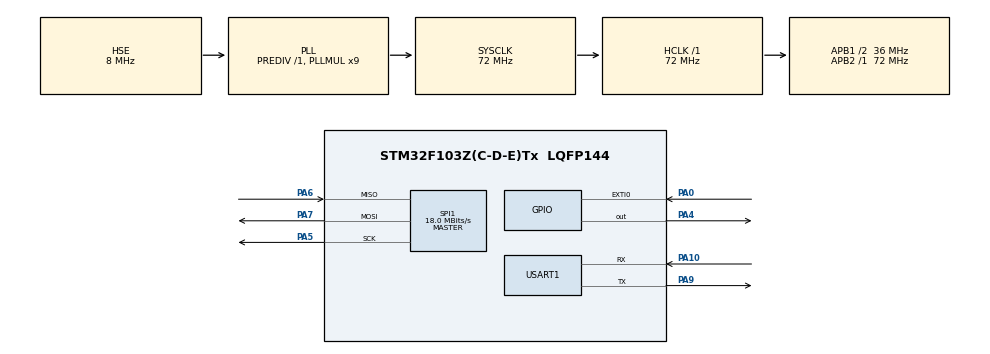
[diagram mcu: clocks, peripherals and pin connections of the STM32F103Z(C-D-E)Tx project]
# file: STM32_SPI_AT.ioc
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FREERTOS.BinarySemaphores01=DataBinarySem01,Dynamic,NULL
FREERTOS.Tasks01=defaultTask,0,128,StartDefaultTask,Default,NULL,Dynamic,NULL,NULL
Mcu.Family=STM32F1
Mcu.Name=STM32F103Z(C-D-E)Tx
Mcu.Package=LQFP144
NVIC.EXTI0_IRQn=true\:5\:0\:false\:false\:true\:true\:true\:true
NVIC.PriorityGroup=NVIC_PRIORITYGROUP_4
NVIC.SPI1_IRQn=true\:5\:0\:false\:false\:true\:true\:true\:true
NVIC.TIM2_IRQn=true\:0\:0\:false\:false\:true\:false\:false\:true
NVIC.TimeBase=TIM2_IRQn
NVIC.TimeBaseIP=TIM2
NVIC.USART1_IRQn=true\:5\:0\:false\:false\:true\:true\:true\:true
OSC_IN.Mode=HSE-External-Oscillator
OSC_IN.Signal=RCC_OSC_IN
OSC_OUT.Mode=HSE-External-Oscillator
OSC_OUT.Signal=RCC_OSC_OUT
PA0-WKUP.GPIO_ModeDefaultEXTI=GPIO_MODE_IT_RISING
PA0-WKUP.GPIO_PuPd=GPIO_PULLDOWN
PA0-WKUP.Signal=GPXTI0
PA10.Mode=Asynchronous
PA10.Signal=USART1_RX
PA13.Mode=Serial_Wire
PA13.Signal=SYS_JTMS-SWDIO
PA14.Mode=Serial_Wire
PA14.Signal=SYS_JTCK-SWCLK
PA4.GPIO_ModeDefaultOutputPP=GPIO_MODE_OUTPUT_PP
PA4.GPIO_PuPd=GPIO_PULLUP
PA4.PinState=GPIO_PIN_RESET
PA4.Signal=GPIO_Output
PA5.Mode=Full_Duplex_Master
PA5.Signal=SPI1_SCK
PA6.Mode=Full_Duplex_Master
PA6.Signal=SPI1_MISO
PA7.Mode=Full_Duplex_Master
PA7.Signal=SPI1_MOSI
PA9.Mode=Asynchronous
PA9.Signal=USART1_TX
ProjectManager.HeapSize=0x200
ProjectManager.StackSize=0x400
ProjectManager.TargetToolchain=MDK-ARM V5
RCC.AHBFreq_Value=72000000
RCC.APB1CLKDivider=RCC_HCLK_DIV2
RCC.APB1Freq_Value=36000000
RCC.APB1TimFreq_Value=72000000
RCC.APB2Freq_Value=72000000
RCC.APB2TimFreq_Value=72000000
RCC.HCLKFreq_Value=72000000
RCC.PLLMUL=RCC_PLL_MUL9
RCC.PLLSourceVirtual=RCC_PLLSOURCE_HSE
RCC.SYSCLKFreq_VALUE=72000000
RCC.SYSCLKSource=RCC_SYSCLKSOURCE_PLLCLK
RCC.USBFreq_Value=72000000
SPI1.BaudRatePrescaler=SPI_BAUDRATEPRESCALER_4
SPI1.CalculateBaudRate=18.0 MBits/s
SPI1.Direction=SPI_DIRECTION_2LINES
SPI1.Mode=SPI_MODE_MASTER
SPI1.VirtualType=VM_MASTER
USART1.VirtualMode=VM_ASYNC
VP_FREERTOS_VS_CMSIS_V1.Mode=CMSIS_V1
VP_SYS_VS_tim2.Mode=TIM2
board=custom

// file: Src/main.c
/* USER CODE BEGIN Header */
/**
  ******************************************************************************
  * @file           : main.c
  * @brief          : Main program body
  ******************************************************************************
  * @attention
  *
  * <h2><center>&copy; Copyright (c) 2020 STMicroelectronics.
  * All rights reserved.</center></h2>
  *
  * This software component is licensed by ST under Ultimate Liberty license
  * SLA0044, the "License"; You may not use this file except in compliance with
  * the License. You may obtain a copy of the License at:
  *                             www.st.com/SLA0044
  *
  ******************************************************************************
  */
/* USER CODE END Header */

#include "main.h"
#include "cmsis_os.h"
#include "spi.h"
#include "usart.h"
#include "gpio.h"

/* USER CODE BEGIN Includes */
#include <stdio.h>
/* USER CODE END Includes */

void SystemClock_Config(void);
void MX_FREERTOS_Init(void);

int main(void)
{

  /* MCU Configuration--------------------------------------------------------*/

  /* Reset of all peripherals, Initializes the Flash interface and the Systick. */
  HAL_Init();

  /* Configure the system clock */
  SystemClock_Config();

  /* Initialize all configured peripherals */
  MX_GPIO_Init();
  MX_SPI1_Init();
  MX_USART1_UART_Init();

  /* Call init function for freertos objects (in freertos.c) */
  MX_FREERTOS_Init();

  /* Start scheduler */
  osKernelStart();

  /* We should never get here as control is now taken by the scheduler */

  /* Infinite loop */
  while (1)
  {

  }
}

void SystemClock_Config(void)
{
  RCC_OscInitTypeDef RCC_OscInitStruct = {0};
  RCC_ClkInitTypeDef RCC_ClkInitStruct = {0};

  /** Initializes the CPU, AHB and APB busses clocks
  */
  RCC_OscInitStruct.OscillatorType = RCC_OSCILLATORTYPE_HSE;
  RCC_OscInitStruct.HSEState = RCC_HSE_ON;
  RCC_OscInitStruct.HSEPredivValue = RCC_HSE_PREDIV_DIV1;
  RCC_OscInitStruct.HSIState = RCC_HSI_ON;
  RCC_OscInitStruct.PLL.PLLState = RCC_PLL_ON;
  RCC_OscInitStruct.PLL.PLLSource = RCC_PLLSOURCE_HSE;
  RCC_OscInitStruct.PLL.PLLMUL = RCC_PLL_MUL9;
  if (HAL_RCC_OscConfig(&RCC_OscInitStruct) != HAL_OK)
  {
    Error_Handler();
  }
  /** Initializes the CPU, AHB and APB busses clocks
  */
  RCC_ClkInitStruct.ClockType = RCC_CLOCKTYPE_HCLK|RCC_CLOCKTYPE_SYSCLK
                              |RCC_CLOCKTYPE_PCLK1|RCC_CLOCKTYPE_PCLK2;
  RCC_ClkInitStruct.SYSCLKSource = RCC_SYSCLKSOURCE_PLLCLK;
  RCC_ClkInitStruct.AHBCLKDivider = RCC_SYSCLK_DIV1;
  RCC_ClkInitStruct.APB1CLKDivider = RCC_HCLK_DIV2;
  RCC_ClkInitStruct.APB2CLKDivider = RCC_HCLK_DIV1;

  if (HAL_RCC_ClockConfig(&RCC_ClkInitStruct, FLASH_LATENCY_2) != HAL_OK)
  {
    Error_Handler();
  }
}

void HAL_TIM_PeriodElapsedCallback(TIM_HandleTypeDef *htim)
{
  if (htim->Instance == TIM2) {
    HAL_IncTick();
  }
}

void Error_Handler(void)
{
  /* USER CODE BEGIN Error_Handler_Debug */
  /* User can add his own implementation to report the HAL error return state */
  printf("Find error\r\n");
  /* USER CODE END Error_Handler_Debug */
}

/************************ (C) COPYRIGHT STMicroelectronics *****END OF FILE****/

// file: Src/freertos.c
/* USER CODE BEGIN Header */
/**
  ******************************************************************************
  * File Name          : freertos.c
  * Description        : Code for freertos applications
  ******************************************************************************
  * @attention
  *
  * <h2><center>&copy; Copyright (c) 2020 STMicroelectronics.
  * All rights reserved.</center></h2>
  *
  * This software component is licensed by ST under Ultimate Liberty license
  * SLA0044, the "License"; You may not use this file except in compliance with
  * the License. You may obtain a copy of the License at:
  *                             www.st.com/SLA0044
  *
  ******************************************************************************
  */
/* USER CODE END Header */

#include "FreeRTOS.h"
#include "task.h"
#include "main.h"
#include "cmsis_os.h"

/* USER CODE BEGIN Includes */
#include <string.h>
#include <stdio.h>
#include "task.h"
#include "stream_buffer.h"
#include "semphr.h"
#include "usart.h"
#include "gpio.h"
#include "spi.h"
/* USER CODE END Includes */

/* USER CODE BEGIN PTD */
 #define RXBUFFERSIZE 256
char RxBuffer[RXBUFFERSIZE];
char RxBufferBackup[RXBUFFERSIZE];
uint8_t aRxBuffer;
uint32_t Uart1_Rx_Cnt = 0;
uint32_t Uart1_Rx_Cnt_Backup = 0;
/* USER CODE END PTD */

/* USER CODE BEGIN PD */
/* List of commands */
#define CMD_WRITE_STATUS            0x01
#define CMD_WRITE_DATA              0x02
#define CMD_READ_DATA               0x03
#define CMD_READ_STATUS             0x04
#define SPI_BUFFER_MAX_SIZE         512

typedef enum {
    SPI_NULL = 0,
    SPI_WRITE,
    SPI_READ
} spi_master_mode_t;

typedef enum {false = 0,true = 1} bool;

static spi_master_mode_t intr_trans_mode = SPI_NULL;
static bool wait_recv_data = false;
/* USER CODE END PFP */

/* Private user code ---------------------------------------------------------*/
/* USER CODE BEGIN 0 */
uint8_t rxdata[66], txdata[66];       // 1Byte cmd + 1Byte address + 64Byte data
/* USER CODE END PD */

/* USER CODE BEGIN Variables */
static StreamBufferHandle_t spi_master_send_ring_buf = NULL;
static StreamBufferHandle_t spi_master_recv_ring_buf = NULL;
static uint32_t transmit_len = 0;
SemaphoreHandle_t DataBinarySem01Handle;
static SemaphoreHandle_t UartBinarySemHandle;
/* USER CODE END Variables */

/* USER CODE BEGIN FunctionPrototypes */
void transmit_Task(void * argument);
static int8_t at_spi_load_data(uint8_t* buf, int32_t len);
/* USER CODE END FunctionPrototypes */

void uart_Task(void * argument);
void recv_task(void* arg);

void MX_FREERTOS_Init(void); /* (MISRA C 2004 rule 8.1) */

/* GetIdleTaskMemory prototype (linked to static allocation support) */
void vApplicationGetIdleTaskMemory( StaticTask_t **ppxIdleTaskTCBBuffer, StackType_t **ppxIdleTaskStackBuffer, uint32_t *pulIdleTaskStackSize );

/* USER CODE BEGIN GET_IDLE_TASK_MEMORY */
static StaticTask_t xIdleTaskTCBBuffer;
static StackType_t xIdleStack[configMINIMAL_STACK_SIZE];

void vApplicationGetIdleTaskMemory( StaticTask_t **ppxIdleTaskTCBBuffer, StackType_t **ppxIdleTaskStackBuffer, uint32_t *pulIdleTaskStackSize )
{
  *ppxIdleTaskTCBBuffer = &xIdleTaskTCBBuffer;
  *ppxIdleTaskStackBuffer = &xIdleStack[0];
  *pulIdleTaskStackSize = configMINIMAL_STACK_SIZE;
  /* place for user code */
}
/* USER CODE END GET_IDLE_TASK_MEMORY */

void MX_FREERTOS_Init(void) {

  /* Create the semaphores(s) */
  /* definition and creation of DataBinarySem01 */
  //osSemaphoreDef(DataBinarySem01);
  //DataBinarySem01Handle = osSemaphoreCreate(osSemaphore(DataBinarySem01), 1);

  /* USER CODE BEGIN RTOS_SEMAPHORES */
  //osSemaphoreDef(UartBinarySem);
  //UartBinarySemHandle = osSemaphoreCreate(osSemaphore(UartBinarySem), 1);
  /* USER CODE END RTOS_SEMAPHORES */

  /* Create the thread(s) */
  /* definition and creation of defaultTask */
  //osThreadDef(defaultTask, StartDefaultTask, osPriorityNormal, 0, 128);
  //defaultTaskHandle = osThreadCreate(osThread(defaultTask), NULL);

  /* USER CODE BEGIN RTOS_THREADS */
	/*
  osThreadDef(transmitTask, transmit_Task, osPriorityNormal, 0, 256);
  transmitTaskHandle = osThreadCreate(osThread(transmitTask), NULL);
	*/
	DataBinarySem01Handle = xSemaphoreCreateBinary();
	UartBinarySemHandle = xSemaphoreCreateBinary();
	spi_master_send_ring_buf = xStreamBufferCreate(SPI_BUFFER_MAX_SIZE, 256);
  spi_master_recv_ring_buf = xStreamBufferCreate(SPI_BUFFER_MAX_SIZE, 1);

	xTaskCreate(transmit_Task, "transmit_Task", 128, NULL, 6, NULL);
  xTaskCreate(uart_Task, "uart_Task", 64, NULL, 5, NULL);
	xTaskCreate(recv_task, "recv_Task", 64, NULL, 5, NULL);
  /* USER CODE END RTOS_THREADS */

}

void uart_Task(void * argument)
{
  /* USER CODE BEGIN StartDefaultTask */
	xSemaphoreTake(UartBinarySemHandle,0);
	// wakeup uart receive intr
	HAL_UART_Receive_IT(&huart1, (uint8_t *)&aRxBuffer, 1);
	printf("Test UART send\r\n");
  /* Infinite loop */
  for(;;)
  {
		xSemaphoreTake(UartBinarySemHandle,portMAX_DELAY);
		//printf("UART len: %d\r\n", Uart1_Rx_Cnt_Backup);
		RxBufferBackup[Uart1_Rx_Cnt_Backup] = '\0';
		//printf("UART DATA: %s", RxBufferBackup);
    at_spi_load_data((uint8_t*)RxBufferBackup, Uart1_Rx_Cnt_Backup);
  }
  /* USER CODE END StartDefaultTask */
}

/* USER CODE BEGIN Application */

void spi_transmit_data(uint32_t len)
{
		CS_low();
	  HAL_SPI_TransmitReceive(&hspi1, txdata, rxdata, len, 100);
		CS_high();
}

void set_trans_len(uint32_t len)
{
    /* Write status */
    txdata[0] = CMD_WRITE_STATUS;
    txdata[1] = (len >>  0) & 0xFF;
    txdata[2] = (len >>  8) & 0xFF;
    txdata[3] = (len >> 16) & 0xFF;
    txdata[4] = (len >> 24) & 0xFF;

    spi_transmit_data(5);
}

static uint32_t get_trans_len(void)
{
    uint32_t len;

    /* Read status */
    txdata[0] = CMD_READ_STATUS;

    spi_transmit_data(5);

    len = rxdata[1] | rxdata[2] << 8 | rxdata[3] << 16 | rxdata[4] << 24;
    //printf("Data length for receive: %d bytes\r\n", (int)len);

    return len;
}

static void spi_send_data(char *str, uint32_t len)
{
	  uint32_t i;

    txdata[0] = CMD_WRITE_DATA;
    txdata[1] = 0x00;
    for (i = 0; i < len; ++i) {
        txdata[2 + i] = str[i];
    }

    spi_transmit_data(len + 2);
}

static void receive_data(uint32_t len) {
    if(len <= 0){
			printf("Len is error\r\n");
			return;
		}
    txdata[0] = CMD_READ_DATA;
    txdata[1] = 0x00;
    spi_transmit_data(2 + len);
    //printf("Data received: %.*s\r\n", (int)len, &rxdata[2]);
}

// SPI master sent to slave function
static int8_t at_spi_load_data(uint8_t* buf, int32_t len)
{
    if (len > SPI_BUFFER_MAX_SIZE) {
        printf("Send length %d is too large\r\n", len);
        return -1;
    }

    size_t xBytesSent = xStreamBufferSend(spi_master_send_ring_buf, (void*) buf, len, 100);

    if (xBytesSent != len) {
        printf("Send error, len:%d\r\n", xBytesSent);
        return -1;
    }

    if (intr_trans_mode == SPI_NULL) {
        xSemaphoreGive(DataBinarySem01Handle);
    }

    return 0;
}

void recv_task(void* arg)
{
    size_t xReceivedBytes;
    uint8_t read_data[1024 + 1];

    while (1) {
        xReceivedBytes = xStreamBufferReceive(spi_master_recv_ring_buf, read_data, 1024, 2000 / portTICK_RATE_MS);

        if (xReceivedBytes != 0) {
            read_data[xReceivedBytes] = '\0';
            printf("%s", read_data);
            fflush(stdout);    //Force to print even if have not '\n'
        }

        // steam buffer full
        if (wait_recv_data) {
            if (xStreamBufferBytesAvailable(spi_master_recv_ring_buf) > 64) {
							  wait_recv_data = false;
                xSemaphoreGive(DataBinarySem01Handle);
            }
        }
    }
}

void transmit_Task(void * argument)
{
	char trans_data[64];
  uint32_t read_len = 0;
  uint32_t recv_actual_len = 0;

	xSemaphoreTake(DataBinarySem01Handle,0);
	CS_high();
	printf("Start SPI thansmit\r\n");

  /* Infinite loop */
  for(;;)
  {
		xSemaphoreTake(DataBinarySem01Handle,portMAX_DELAY);
    if (intr_trans_mode == SPI_NULL) {       // Some data need to read or write???
        // have some data need to send ???
        if (xStreamBufferIsEmpty(spi_master_send_ring_buf) == pdFALSE) {
            intr_trans_mode = SPI_WRITE;
            transmit_len = xStreamBufferBytesAvailable(spi_master_send_ring_buf);
					  set_trans_len(transmit_len);
            continue;
        }

        // Check if there is any data to receive
        transmit_len  = get_trans_len();

        if (transmit_len > 0) {
            //printf("Receive data len: %d\n", transmit_len);
            intr_trans_mode = SPI_READ;
            continue;
        } else {
            printf("Nothing to do");
            continue;
        }
    }

		read_len =  transmit_len > 64 ? 64 : transmit_len;

    // SPI slave have some data want to transmit, read it
    if (intr_trans_mode == SPI_READ) {
        if (xStreamBufferSpacesAvailable(spi_master_recv_ring_buf) >= 64) {    // Stream buffer not full, can be read agian
					  receive_data(read_len);
            recv_actual_len = xStreamBufferSend(spi_master_recv_ring_buf, (void*) (rxdata + 2), read_len, 1000);
            if(recv_actual_len != read_len){
							printf("Receive len error\r\n");
							continue;
						}
            transmit_len -= read_len;

            if (transmit_len == 0) {
                intr_trans_mode = SPI_NULL;

                /* When SPI slave sending data , maybe MCU also have some date wait for send */
                if (xStreamBufferIsEmpty(spi_master_send_ring_buf) == pdFALSE) {
                    xSemaphoreGive(DataBinarySem01Handle);
                }
            }
        } else {   // stream buffer full, wait to be tacken out
            printf("Stream buffer full\r\n");
					  wait_recv_data = true;
        }

        // MCU want to send data to ESP8266
    } else if (intr_trans_mode == SPI_WRITE) {
        if (read_len > 0) {
            recv_actual_len = xStreamBufferReceive(spi_master_send_ring_buf,
                              (void*)trans_data,
                              read_len,
                              1000);

            if (recv_actual_len != read_len) {
                printf("Expect to send %d bytes, but only %d bytes\r\n", read_len, recv_actual_len);
                continue;
            }

						spi_send_data(trans_data, recv_actual_len);
            transmit_len -= read_len;
        } else {
            intr_trans_mode = SPI_NULL;

            if (xStreamBufferIsEmpty(spi_master_send_ring_buf) == pdFALSE) {
                xSemaphoreGive(DataBinarySem01Handle);
            } else {
                // if ring buffer is empty, send status=0 tell slave send done
                set_trans_len(0);
            }
        }
    }
  }
}

void HAL_UART_RxCpltCallback(UART_HandleTypeDef *huart)
{
  /* NOTE: This function Should not be modified, when the callback is needed,
           the HAL_UART_TxCpltCallback could be implemented in the user file
   */
	BaseType_t xHigherPriorityTaskWoken;

	if(Uart1_Rx_Cnt >= 254)  // copy before over flow
	{
		Uart1_Rx_Cnt_Backup = Uart1_Rx_Cnt;
		memcpy(RxBufferBackup, RxBuffer, Uart1_Rx_Cnt);
		xSemaphoreGiveFromISR(UartBinarySemHandle,&xHigherPriorityTaskWoken);

		Uart1_Rx_Cnt = 0;
		memset(RxBuffer,0x00,sizeof(RxBuffer));

	} else {
		RxBuffer[Uart1_Rx_Cnt++] = aRxBuffer;   //

		if((RxBuffer[Uart1_Rx_Cnt-1] == 0x0A)&&(RxBuffer[Uart1_Rx_Cnt-2] == 0x0D))
		{
      Uart1_Rx_Cnt_Backup = Uart1_Rx_Cnt;
		  memcpy(RxBufferBackup, RxBuffer, Uart1_Rx_Cnt);
			xSemaphoreGiveFromISR(UartBinarySemHandle,&xHigherPriorityTaskWoken);
			Uart1_Rx_Cnt = 0;
			memset(RxBuffer,0x00,sizeof(RxBuffer));
		}
	}

	HAL_UART_Receive_IT(&huart1, (uint8_t *)&aRxBuffer, 1);

	if(xHigherPriorityTaskWoken) {
	  portYIELD_FROM_ISR(xHigherPriorityTaskWoken);
	}

}

/* USER CODE END Application */

/************************ (C) COPYRIGHT STMicroelectronics *****END OF FILE****/
